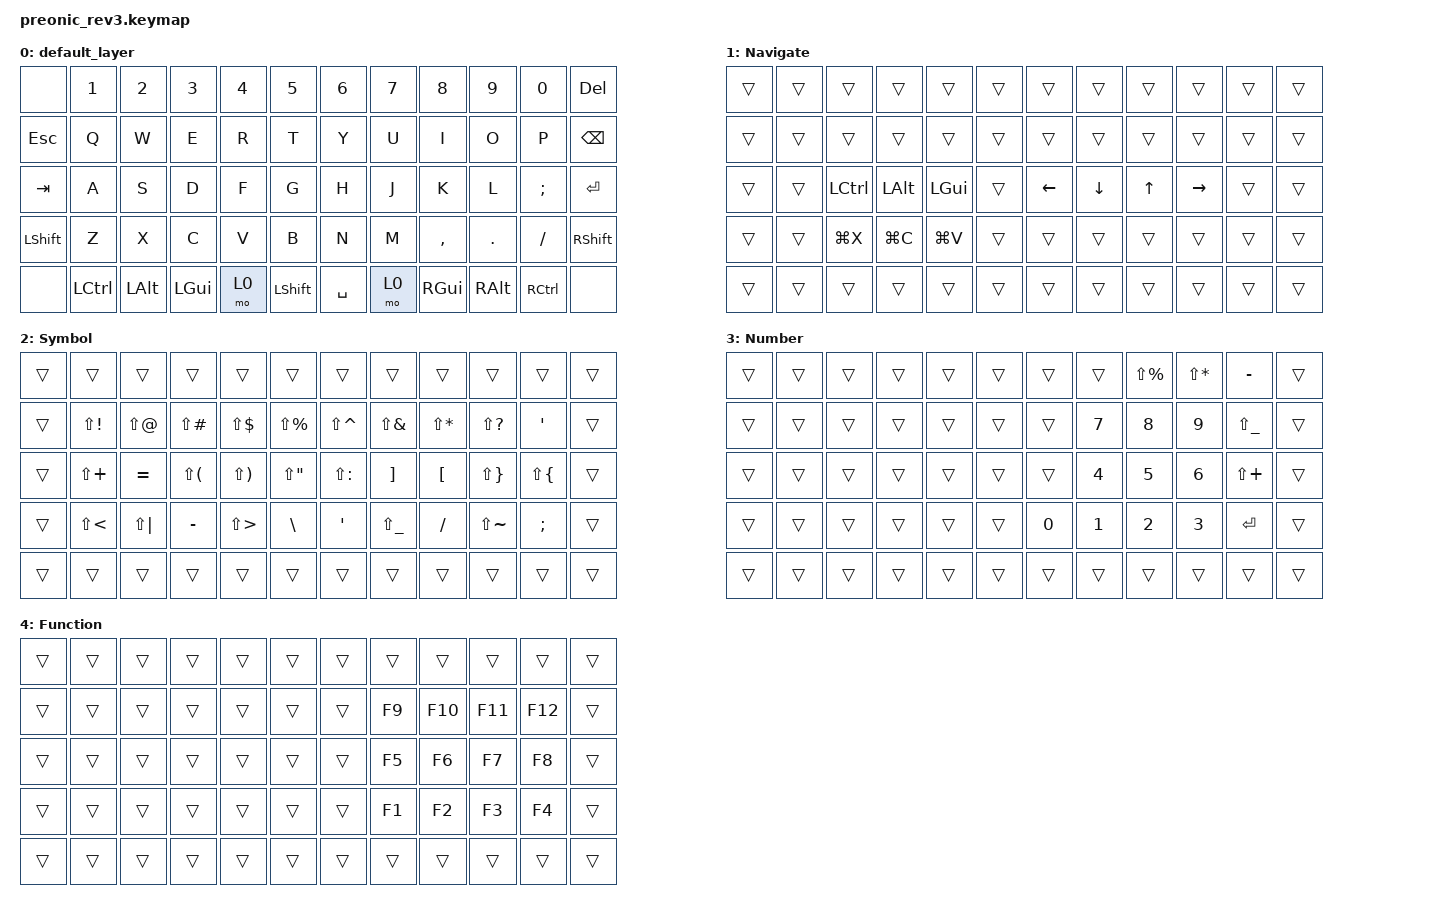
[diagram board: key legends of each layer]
/*
 * Copyright (c) 2022 The ZMK Contributors
 *
 * SPDX-License-Identifier: MIT
 */

#include <behaviors.dtsi>
#include <dt-bindings/zmk/keys.h>

#define DEFAULT 0
#define LOWER   1
#define RAISE   2

/ {
    chosen { zmk,matrix-transform = &layout_grid_transform; };

    combos {
        compatible = "zmk,combos";

        Escape {
            bindings = <&kp ESCAPE>;
            key-positions = <13 14>;
        };

        tab {
            bindings = <&kp TAB>;
            key-positions = <25 26>;
        };

        undo {
            bindings = <&kp LG(Z)>;
            key-positions = <37 38>;
        };
    };

    keymap {
        compatible = "zmk,keymap";

        default_layer {
            //  -------------------------------------------------------------------------------------------------
            // |  GRAV |  1   |  2   |  3   |  4    |  5     |   6     |  7     |  8   |  9    |   0   | DEL    |
            // |  TAB  |  Q   |  W   |  E   |  R    |  T     |   Y     |  U     |  I   |  O    |   P   | BKSP   |
            // |  ESC  |  A   |  S   |  D   |  F    |  G     |   H     |  J     |  K   |  L    |   ;   |  '     |
            // | SHIFT |  Z   |  X   |  C   |  V    |  B     |   N     |  M     |  ,   |  .    |   /   | RET    |
            // |       | LGUI | LALT | LCTL | LOWER | SPACE  |  SPACE  |  RAISE | LEFT |  DOWN |   UP  | RIGHT  |

            bindings = <
&none       &kp N1     &kp N2    &kp N3    &kp N4  &kp N5     &kp N6     &kp N7  &kp N8         &kp N9         &kp N0     &kp DELETE
&kp ESC     &kp Q      &kp W     &kp E     &kp R   &kp T      &kp Y      &kp U   &kp I          &kp O          &kp P      &kp BACKSPACE
&kp TAB     &kp A      &kp S     &kp D     &kp F   &kp G      &kp H      &kp J   &kp K          &kp L          &kp SEMI   &kp ENTER
&kp LSHIFT  &kp Z      &kp X     &kp C     &kp V   &kp B      &kp N      &kp M   &kp COMMA      &kp DOT        &kp SLASH  &kp RIGHT_SHIFT
&none       &kp LCTRL  &kp LALT  &kp LGUI  &mo 0   &kp LSHFT  &kp SPACE  &mo 0   &kp RIGHT_GUI  &kp RIGHT_ALT  &kp RCTRL  &none
            >;
        };

        navigate {
            bindings = <
&trans  &trans  &trans     &trans        &trans        &trans  &trans    &trans    &trans  &trans     &trans  &trans
&trans  &trans  &trans     &trans        &trans        &trans  &trans    &trans    &trans  &trans     &trans  &trans
&trans  &trans  &kp LCTRL  &kp LEFT_ALT  &kp LEFT_GUI  &trans  &kp LEFT  &kp DOWN  &kp UP  &kp RIGHT  &trans  &trans
&trans  &trans  &kp LG(X)  &kp LG(C)     &kp LG(V)     &trans  &trans    &trans    &trans  &trans     &trans  &trans
&trans  &trans  &trans     &trans        &trans        &trans  &trans    &trans    &trans  &trans     &trans  &trans
            >;

            label = "Navigate";
        };

        symbol {
            bindings = <
&trans  &trans        &trans        &trans         &trans        &trans         &trans         &trans         &trans        &trans         &trans        &trans
&trans  &kp LS(EXCL)  &kp LS(AT)    &kp LS(POUND)  &kp LS(DLLR)  &kp LS(PRCNT)  &kp LS(CARET)  &kp LS(AMPS)   &kp LS(STAR)  &kp LS(QMARK)  &kp SQT       &trans
&trans  &kp LS(PLUS)  &kp EQUAL     &kp LS(LPAR)   &kp LS(RPAR)  &kp LS(DQT)    &kp LS(COLON)  &kp RBKT       &kp LBKT      &kp LS(RBRC)   &kp LS(LBRC)  &trans
&trans  &kp LS(LT)    &kp LS(PIPE)  &kp MINUS      &kp LS(GT)    &kp BSLH       &kp SQT        &kp LS(UNDER)  &kp FSLH      &kp LS(TILDE)  &kp SEMI      &trans
&trans  &trans        &trans        &trans         &trans        &trans         &trans         &trans         &trans        &trans         &trans        &trans
            >;

            label = "Symbol";
        };

        number {
            bindings = <
&trans  &trans  &trans  &trans  &trans  &trans  &trans  &trans  &kp LS(PRCNT)  &kp LS(STAR)  &kp MINUS      &trans
&trans  &trans  &trans  &trans  &trans  &trans  &trans  &kp N7  &kp N8         &kp N9        &kp LS(UNDER)  &trans
&trans  &trans  &trans  &trans  &trans  &trans  &trans  &kp N4  &kp N5         &kp N6        &kp LS(PLUS)   &trans
&trans  &trans  &trans  &trans  &trans  &trans  &kp N0  &kp N1  &kp N2         &kp N3        &kp RET        &trans
&trans  &trans  &trans  &trans  &trans  &trans  &trans  &trans  &trans         &trans        &trans         &trans
            >;

            label = "Number";
        };

        function {
            bindings = <
&trans  &trans  &trans  &trans  &trans  &trans  &trans  &trans  &trans   &trans   &trans   &trans
&trans  &trans  &trans  &trans  &trans  &trans  &trans  &kp F9  &kp F10  &kp F11  &kp F12  &trans
&trans  &trans  &trans  &trans  &trans  &trans  &trans  &kp F5  &kp F6   &kp F7   &kp F8   &trans
&trans  &trans  &trans  &trans  &trans  &trans  &trans  &kp F1  &kp F2   &kp F3   &kp F4   &trans
&trans  &trans  &trans  &trans  &trans  &trans  &trans  &trans  &trans   &trans   &trans   &trans
            >;

            label = "Function";
        };
    };
};
